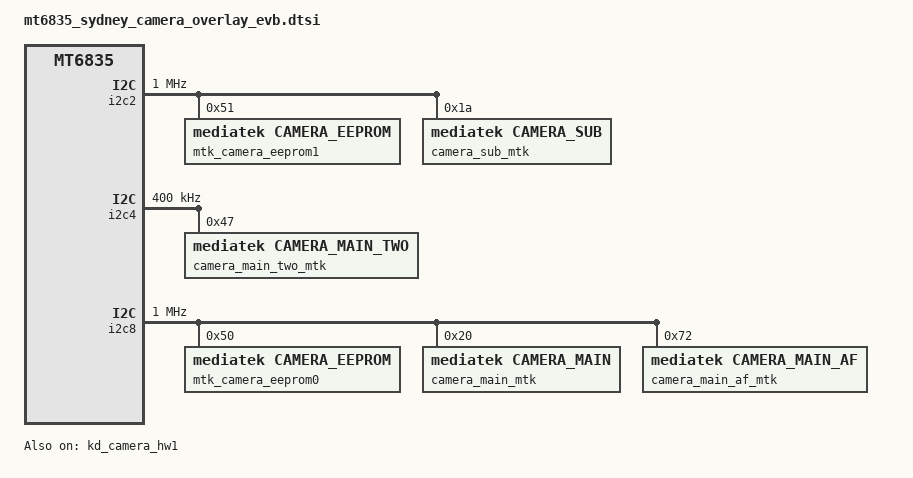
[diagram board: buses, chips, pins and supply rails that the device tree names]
// SPDX-License-Identifier: GPL-2.0
/* Copyright (c) 2020 MediaTek Inc. */
/* CAMERA GPIO standardization */
&pio {
	camera_pins_cam0_rst_0: cam0@0 {
		pins_cmd_dat {
			pinmux = <PINMUX_GPIO28__FUNC_GPIO28>;
			slew-rate = <1>;
			output-low;
		};
	};
	camera_pins_cam0_rst_1: cam0@1 {
		pins_cmd_dat {
			pinmux = <PINMUX_GPIO28__FUNC_GPIO28>;
			slew-rate = <1>;
			output-high;
		};
	};
	camera_pins_cam1_rst_0: cam1@2 {
		pins_cmd_dat {
			pinmux = <PINMUX_GPIO25__FUNC_GPIO25>;
			slew-rate = <1>;
			output-low;
		};
	};
	camera_pins_cam1_rst_1: cam1@3 {
		pins_cmd_dat {
			pinmux = <PINMUX_GPIO25__FUNC_GPIO25>;
			slew-rate = <1>;
			output-high;
		};
	};
	camera_pins_cam2_rst_0: cam2@4{
		pins_cmd_dat {
			pinmux = <PINMUX_GPIO27__FUNC_GPIO27>;
			slew-rate = <1>;
			output-low;
		};
	};
	camera_pins_cam2_rst_1: cam2@5 {
		pins_cmd_dat {
			pinmux = <PINMUX_GPIO27__FUNC_GPIO27>;
			slew-rate = <1>;
			output-high;
		};
	};
	camera_pins_cam2_avdd_gpio_0: cam2@6 {
		pins_cmd_dat {
			pinmux = <PINMUX_GPIO26__FUNC_GPIO26>;
			slew-rate = <1>;
			output-low;
		};
	};
	camera_pins_cam2_avdd_gpio_1: cam2@7 {
		pins_cmd_dat {
			pinmux = <PINMUX_GPIO26__FUNC_GPIO26>;
			slew-rate = <1>;
			output-high;
		};
	};
	camera_pins_cam2_dvdd_gpio_0: cam2@8 {
		pins_cmd_dat {
			pinmux = <PINMUX_GPIO23__FUNC_GPIO23>;
			slew-rate = <1>;
			output-low;
		};
	};
	camera_pins_cam2_dvdd_gpio_1: cam2@9 {
		pins_cmd_dat {
			pinmux = <PINMUX_GPIO23__FUNC_GPIO23>;
			slew-rate = <1>;
			output-high;
		};
	};
	camera_pins_cam0_af_0: vcamaf0@10 {
		pins_cmd_dat {
			pinmux = <PINMUX_GPIO35__FUNC_GPIO35>;
			slew-rate = <1>;
			output-low;
		};
	};
	camera_pins_cam0_af_1: vcamaf1@11 {
		pins_cmd_dat {
			pinmux = <PINMUX_GPIO35__FUNC_GPIO35>;
			slew-rate = <1>;
			output-high;
		};
	};
	camera_pins_cam0_mclk_off: camera_pins_cam0_mclk_off {
		pins_cmd_dat {
			pinmux = <PINMUX_GPIO91__FUNC_GPIO91>;
			drive-strength = <1>;
		};
	};
	camera_pins_cam0_mclk_2ma: camera_pins_cam0_mclk_2ma {
		pins_cmd_dat {
			pinmux = <PINMUX_GPIO91__FUNC_CMMCLK3>;
			drive-strength = <0>;
		};
	};
	camera_pins_cam0_mclk_4ma: camera_pins_cam0_mclk_4ma {
		pins_cmd_dat {
			pinmux = <PINMUX_GPIO91__FUNC_CMMCLK3>;
			drive-strength = <1>;
		};
	};
	camera_pins_cam0_mclk_6ma: camera_pins_cam0_mclk_6ma {
		pins_cmd_dat {
			pinmux = <PINMUX_GPIO91__FUNC_CMMCLK3>;
			drive-strength = <2>;
		};
	};
	camera_pins_cam0_mclk_8ma: camera_pins_cam0_mclk_8ma {
		pins_cmd_dat {
			pinmux = <PINMUX_GPIO91__FUNC_CMMCLK3>;
			drive-strength = <3>;
		};
	};
	camera_pins_cam1_mclk_off: camera_pins_cam1_mclk_off {
		pins_cmd_dat {
			pinmux = <PINMUX_GPIO88__FUNC_GPIO88>;
			drive-strength = <1>;
		};
	};
	camera_pins_cam1_mclk_2ma: camera_pins_cam1_mclk_2ma {
		pins_cmd_dat {
			pinmux = <PINMUX_GPIO88__FUNC_CMMCLK0>;
			drive-strength = <0>;
		};
	};
	camera_pins_cam1_mclk_4ma: camera_pins_cam1_mclk_4ma {
		pins_cmd_dat {
			pinmux = <PINMUX_GPIO88__FUNC_CMMCLK0>;
			drive-strength = <1>;
		};
	};
	camera_pins_cam1_mclk_6ma: camera_pins_cam1_mclk_6ma {
		pins_cmd_dat {
			pinmux = <PINMUX_GPIO88__FUNC_CMMCLK0>;
			drive-strength = <2>;
		};
	};
	camera_pins_cam1_mclk_8ma: camera_pins_cam1_mclk_8ma {
		pins_cmd_dat {
			pinmux = <PINMUX_GPIO88__FUNC_CMMCLK0>;
			drive-strength = <3>;
		};
	};
	camera_pins_cam2_mclk_off: camera_pins_cam2_mclk_off {
		pins_cmd_dat {
			pinmux = <PINMUX_GPIO90__FUNC_GPIO90>;
			drive-strength = <1>;
		};
	};
	camera_pins_cam2_mclk_2ma: camera_pins_cam2_mclk_2ma {
		pins_cmd_dat {
			pinmux = <PINMUX_GPIO90__FUNC_CMMCLK2>;
			drive-strength = <0>;
		};
	};
	camera_pins_cam2_mclk_4ma: camera_pins_cam2_mclk_4ma {
		pins_cmd_dat {
			pinmux = <PINMUX_GPIO90__FUNC_CMMCLK2>;
			drive-strength = <1>;
		};
	};
	camera_pins_cam2_mclk_6ma: camera_pins_cam2_mclk_6ma {
		pins_cmd_dat {
			pinmux = <PINMUX_GPIO90__FUNC_CMMCLK2>;
			drive-strength = <2>;
		};
	};
	camera_pins_cam2_mclk_8ma: camera_pins_cam2_mclk_8ma {
		pins_cmd_dat {
			pinmux = <PINMUX_GPIO90__FUNC_CMMCLK2>;
			drive-strength = <3>;
		};
	};
	camera_pins_default: camdefault {
	};

	flashlight_gpio_high: flashlight@0 {
		pins_cmd_dat {
			pinmux = <PINMUX_GPIO43__FUNC_GPIO43>;
			slew-rate = <1>;
			output-high;
		};
	};
	flashlight_gpio_low: flashlight@1 {
		pins_cmd_dat {
			pinmux = <PINMUX_GPIO43__FUNC_GPIO43>;
			slew-rate = <1>;
			output-low;
		};
	};
	flashlight_pwm_high: flashlight@2 {
		pins_cmd_dat {
			pinmux = <PINMUX_GPIO148__FUNC_GPIO148>;
			slew-rate = <1>;
			output-high;
		};
	};
	flashlight_pwm_low: flashlight@3 {
		pins_cmd_dat {
			pinmux = <PINMUX_GPIO148__FUNC_GPIO148>;
			slew-rate = <1>;
			output-low;
		};
	};
	flashlight_pwm_en: flashlight@4 {
		pins_cmd_dat {
			pinmux = <PINMUX_GPIO148__FUNC_PWM_1>;
			slew-rate = <1>;
			output-high;
		};
	};
	flash_default: flashlightdefault {
	};
};

&kd_camera_hw1 {
	pinctrl-names = "default",
			"cam0_rst0", "cam0_rst1",
			"cam1_rst0", "cam1_rst1",
			"cam2_rst0", "cam2_rst1",
			"cam0_mclk_off",
			"cam0_mclk_2mA", "cam0_mclk_4mA",
			"cam0_mclk_6mA", "cam0_mclk_8mA",
			"cam1_mclk_off",
			"cam1_mclk_2mA", "cam1_mclk_4mA",
			"cam1_mclk_6mA", "cam1_mclk_8mA",
			"cam2_mclk_off",
			"cam2_mclk_2mA", "cam2_mclk_4mA",
			"cam2_mclk_6mA", "cam2_mclk_8mA",
			"cam2_ldo_vcama_0",  "cam2_ldo_vcama_1",
			"cam2_ldo_vcamd_0",  "cam2_ldo_vcamd_1";

	pinctrl-0 = <&camera_pins_default>;
	pinctrl-1 = <&camera_pins_cam0_rst_0>;
	pinctrl-2 = <&camera_pins_cam0_rst_1>;
	pinctrl-3 = <&camera_pins_cam1_rst_0>;
	pinctrl-4 = <&camera_pins_cam1_rst_1>;
	pinctrl-5 = <&camera_pins_cam2_rst_0>;
	pinctrl-6 = <&camera_pins_cam2_rst_1>;
	pinctrl-7 = <&camera_pins_cam0_mclk_off>;
	pinctrl-8 = <&camera_pins_cam0_mclk_2ma>;
	pinctrl-9 = <&camera_pins_cam0_mclk_4ma>;
	pinctrl-10 = <&camera_pins_cam0_mclk_6ma>;
	pinctrl-11 = <&camera_pins_cam0_mclk_8ma>;
	pinctrl-12 = <&camera_pins_cam1_mclk_off>;
	pinctrl-13 = <&camera_pins_cam1_mclk_2ma>;
	pinctrl-14 = <&camera_pins_cam1_mclk_4ma>;
	pinctrl-15 = <&camera_pins_cam1_mclk_6ma>;
	pinctrl-16 = <&camera_pins_cam1_mclk_8ma>;
	pinctrl-17 = <&camera_pins_cam2_mclk_off>;
	pinctrl-18 = <&camera_pins_cam2_mclk_2ma>;
	pinctrl-19 = <&camera_pins_cam2_mclk_4ma>;
	pinctrl-20 = <&camera_pins_cam2_mclk_6ma>;
	pinctrl-21 = <&camera_pins_cam2_mclk_8ma>;
	pinctrl-22 = <&camera_pins_cam2_avdd_gpio_0>;
	pinctrl-23 = <&camera_pins_cam2_avdd_gpio_1>;
	pinctrl-24 = <&camera_pins_cam2_dvdd_gpio_0>;
	pinctrl-25 = <&camera_pins_cam2_dvdd_gpio_1>;

	/* main (wide)*/
	cam0_vcamio-supply = <&mt6377_vaud18>;
	cam0_vcama-supply = <&cam_avdd_main0>;
	cam0_vcamd-supply = <&cam_dvdd_main0>;
	cam1_vcamio-supply = <&mt6377_vaud18>;
	cam1_vcama-supply = <&cam_avdd_front1>;
	cam1_vcamd-supply = <&cam_dvdd_front1>;
	cam2_vcamio-supply = <&mt6377_vaud18>;

	cam0_pin_mclk = "mclk";
	cam0_pin_rst = "gpio";
	cam0_pin_vcama = "regulator";
	cam0_pin_vcamio = "regulator";
	cam0_pin_vcamd = "regulator";
	cam0_pin_vcamaf = "gpio";
	cam1_pin_mclk = "mclk";
	cam1_pin_rst = "gpio";
	cam1_pin_vcama = "regulator";
	cam1_pin_vcamio = "regulator";
	cam1_pin_vcamd = "regulator";
	cam2_pin_mclk = "mclk";
	cam2_pin_rst = "gpio";
	cam2_pin_vcamio = "regulator";
	cam2_pin_vcama = "gpio";
	cam2_pin_vcamd = "gpio";

	cam0_enable_sensor = "mot_sydney_imx882_mipi_raw mot_sydney_gc50f6a_mipi_raw";
	cam1_enable_sensor = "mot_sydney_gc32e1_mipi_raw mot_sydney_sc821cs_mipi_raw";
	cam2_enable_sensor = "mot_sydney_sc821cs_uw_mipi_raw mot_sydney_sc201acs_mipi_raw";
	status = "okay";
};
/* CAMERA GPIO end */

/* CAMERA EEPROM */
&i2c2 {
	status = "okay";
	clock-frequency = <1000000>;
	#address-cells = <1>;
	#size-cells = <0>;

	mtk_camera_eeprom1:camera_eeprom1@51 {
		compatible = "mediatek,camera_eeprom";
		reg = <0x51>;
		status = "okay";
	};

	camera_sub_mtk:camera_sub@1a {
		compatible = "mediatek,camera_sub";
		#thermal-sensor-cells = <0>;
		reg = <0x1a>;
		status = "okay";
	};
};

&i2c4 {
	status = "okay";
	clock-frequency = <400000>;
	camera_main_two_mtk:camera_main_two@47 {
		compatible = "mediatek,camera_main_two";
		#thermal-sensor-cells = <0>;
		reg = <0x47>;
		status = "okay";
	};
};

&i2c8 {
	status = "okay";
	clock-frequency = <1000000>;
	#address-cells = <1>;
	#size-cells = <0>;

	mtk_camera_eeprom0:camera_eeprom0@50 {
		compatible = "mediatek,camera_eeprom";
		reg = <0x50>;
		status = "okay";
	};
	camera_main_mtk:camera_main@20 {
		compatible = "mediatek,camera_main";
		#thermal-sensor-cells = <0>;
		reg = <0x20>;
		status = "okay";
	};
};
/* CAMERA EEPROM end */

/* CAMERA AF */
&i2c8 {
	camera_main_af_mtk:camera_main_af@72 {
		compatible = "mediatek,camera_main_af";
		reg = <0x72>;
		status = "okay";
	};
};
/* CAMERA AF end */

/* CAMERA TZ config */
&thermal_zones {
	camera_main: camera_main {
		polling-delay = <1000>; /* milliseconds */
		polling-delay-passive = <0>; /* milliseconds */
		thermal-sensors = <&camera_main_mtk>;
	};
	camera_sub: camera_sub {
		polling-delay = <1000>; /* milliseconds */
		polling-delay-passive = <0>; /* milliseconds */
		thermal-sensors = <&camera_sub_mtk>;
	};
};
/* CAMERA TZ config end */
&kd_camera_hw1 {
       cust-sensor = "mot_sydney_imx882_mipi_raw mot_sydney_gc32e1_mipi_raw mot_sydney_sc821cs_uw_mipi_raw mot_sydney_gc50f6a_mipi_raw mot_sydney_sc821cs_mipi_raw mot_sydney_sc201acs_mipi_raw";
};

/* CAMERA Flashlight */
&flashlights_sydney {
	compatible = "mediatek,flashlights_sydney_sgm3785s_pwm";
	pinctrl-names = "default",
		"flashlight_gpio_high",
		"flashlight_gpio_low",
		"flashlight_pwm_high",
		"flashlight_pwm_low",
		"flashlight_pwm_en";

	pinctrl-0 = <&flash_default>;
	pinctrl-1 = <&flashlight_gpio_high>;
	pinctrl-2 = <&flashlight_gpio_low>;
	pinctrl-3 = <&flashlight_pwm_high>;
	pinctrl-4 = <&flashlight_pwm_low>;
	pinctrl-5 = <&flashlight_pwm_en>;
	srcclk = <&pericfg_ao_clk>;

	decouple = <0>;
	channel@1 {
		status = "okay";
		type = <0>;
		ct = <0>;
		part = <0>;
	};
};
/* CAMERA Flashlight end */
